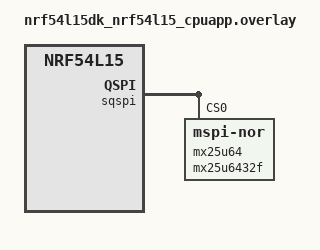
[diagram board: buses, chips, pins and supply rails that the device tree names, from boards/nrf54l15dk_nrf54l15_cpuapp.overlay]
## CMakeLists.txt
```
# SPDX-License-Identifier: Apache-2.0

cmake_minimum_required(VERSION 3.20.0)
find_package(Zephyr REQUIRED HINTS $ENV{ZEPHYR_BASE})
project(spi_flash_1)

FILE(GLOB app_sources src/*.c)
target_sources(app PRIVATE ${app_sources})
```

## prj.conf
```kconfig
# CONFIG_STDOUT_CONSOLE=y
# CONFIG_FLASH=y

# Enable debug logging
CONFIG_LOG=y
CONFIG_FLASH_LOG_LEVEL_DBG=y
CONFIG_MSPI_LOG_LEVEL_DBG=y

# Enable Logging system
CONFIG_LOG=y
CONFIG_UART_CONSOLE=y
CONFIG_USE_SEGGER_RTT=y
CONFIG_RTT_CONSOLE=y

# Core logging #pj_change pj_change
CONFIG_LOG_PRINTK=y
CONFIG_LOG_BACKEND_RTT=y


# to use internal 32 kHz crystal
CONFIG_CLOCK_CONTROL_NRF_K32SRC_RC=y
CONFIG_CLOCK_CONTROL_NRF_K32SRC_500PPM=y
CONFIG_CLOCK_CONTROL_NRF_K32SRC_RC_CALIBRATION=y
CONFIG_CLOCK_CONTROL_NRF_CALIBRATION_LF_ALWAYS_ON=y


CONFIG_STDOUT_CONSOLE=y
CONFIG_FLASH=y
CONFIG_FLASH=y
CONFIG_FLASH_MAP=y
CONFIG_FLASH_PAGE_LAYOUT=y

CONFIG_SPI=y
CONFIG_NORDIC_QSPI_NOR=y


# # Bluetooth core

# CONFIG_BT=y
# CONFIG_BT_PERIPHERAL=y
# CONFIG_BT_MAX_CONN=1
# CONFIG_BT_DEVICE_NAME="FlashSync"

# CONFIG_BT_L2CAP_TX_MTU=247
# CONFIG_BT_BUF_ACL_TX_SIZE=251
# CONFIG_BT_BUF_ACL_TX_COUNT=20
# CONFIG_BT_L2CAP_TX_BUF_COUNT=20

# CONFIG_HEAP_MEM_POOL_SIZE=16384

# # CRC (for crc32_ieee*)
# CONFIG_CRC=y

# # OPTIONAL persistence:
# CONFIG_NVS=y
# CONFIG_FLASH_PAGE_LAYOUT=y
```

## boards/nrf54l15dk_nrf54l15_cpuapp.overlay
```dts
//changing uart port to uart0 //pj_change
// / {
//     chosen {
//         zephyr,console = &uart30;
//         zephyr,shell-uart = &uart30;
//         zephyr,uart-mcumgr = &uart30;
//     };
// };
// /* UART30 configuration */
// &uart30 {
//     status = "okay";
//     current-speed = <115200>;
//     pinctrl-names = "default", "sleep";
//     pinctrl-0 = <&uart30_alt_pins>;
//     pinctrl-1 = <&uart30_sleep_pins>;
// };
// /* UART30 pin mapping */
// &pinctrl {
//     uart30_alt_pins: uart30_alt_pins {
//         group1 {
//             psels = <
//                 NRF_PSEL(UART_TX, 0, 2)
//                 NRF_PSEL(UART_RX, 0, 3)
//                 NRF_PSEL(UART_RTS, 0, 0)
//                 NRF_PSEL(UART_CTS, 0, 1)
//             >;
//         };
//     };
//     uart30_sleep_pins: uart30_sleep_pins {
//         group1 {
//             /* All pins disabled in sleep state */
//             psels = <
//                 NRF_PSEL(UART_TX, 0, 2)
//                 NRF_PSEL(UART_RX, 0, 3)
//                 NRF_PSEL(UART_RTS, 0, 0)
//                 NRF_PSEL(UART_CTS, 0, 1)
//             >;
//             low-power-enable;
//         };
//     };
// };
// &uart20 {
//     status = "disabled";
// };

/*SPI pin configuration */
&pinctrl {
	sqspi_default: sqspi_default {
		group1 {
			psels = <NRF_PSEL(SDP_MSPI_SCK, 2, 1)>,
				<NRF_PSEL(SDP_MSPI_CS0, 2, 5)>,
				<NRF_PSEL(SDP_MSPI_DQ0, 2, 2)>;
			nordic,drive-mode = <NRF_DRIVE_E0E1>;
		};
		group2 {
			psels = <NRF_PSEL(SDP_MSPI_DQ1, 2, 4)>,
				<NRF_PSEL(SDP_MSPI_DQ2, 2, 3)>,
				<NRF_PSEL(SDP_MSPI_DQ3, 2, 0)>;
			nordic,drive-mode = <NRF_DRIVE_E0E1>;
			bias-pull-up;
		};
	};

	sqspi_sleep: sqspi_sleep {
		group1 {
			low-power-enable;
			psels = <NRF_PSEL(SDP_MSPI_SCK, 2, 1)>,
				<NRF_PSEL(SDP_MSPI_CS0, 2, 5)>,
				<NRF_PSEL(SDP_MSPI_DQ0, 2, 2)>,
				<NRF_PSEL(SDP_MSPI_DQ1, 2, 4)>,
				<NRF_PSEL(SDP_MSPI_DQ2, 2, 3)>,
				<NRF_PSEL(SDP_MSPI_DQ3, 2, 0)>;
		};
	};
};

&cpuflpr_vpr {
	pinctrl-0 = <&sqspi_default>;
	pinctrl-1 = <&sqspi_sleep>;
	pinctrl-names = "default", "sleep";
	interrupts = <76 NRF_DEFAULT_IRQ_PRIORITY>;
	status = "okay";
};

/ {
	reserved-memory {
		#address-cells = <1>;
		#size-cells = <1>;
		ranges;

		softperipheral_ram: memory@2003c000 {
			reg = <0x2003c000 0x4000>;
			ranges = <0 0x2003c000 0x4000>;
			#address-cells = <1>;
			#size-cells = <1>;

			sqspi: sqspi@3c00 {
				compatible = "nordic,nrf-sqspi";
				#address-cells = <1>;
				#size-cells = <0>;
				reg = <0x3c00 0x200>;
				status = "okay";
				zephyr,pm-device-runtime-auto;
			};
		};
	};
};

/delete-node/ &mx25r64;

&sqspi {
	mx25u64: mx25u6432f@0 {
		compatible = "jedec,mspi-nor";
		status = "okay";
		reg = <0>;
		jedec-id = [c2 25 37];
		quad-enable-requirements = "S1B6";
		sfdp-bfp = [
			e5 20 f1 ff  ff ff ff 03  44 eb 08 6b  08 3b 04 bb
			ee ff ff ff  ff ff 00 ff  ff ff 00 ff  0c 20 0f 52
			10 d8 00 ff  23 72 f5 00  82 ed 04 cc  44 83 68 44
			30 b0 30 b0  f7 c4 d5 5c  00 be 29 ff  f0 d0 ff ff
		];
		size = <67108864>;
		has-dpd;
		t-enter-dpd = <10000>;
		t-exit-dpd = <35000>;
		t-reset-pulse = <10000>;
		t-reset-recovery = <35000>;

		mspi-max-frequency = <DT_FREQ_M(8)>;
		mspi-io-mode = "MSPI_IO_MODE_QUAD_1_4_4";
		mspi-data-rate = "MSPI_DATA_RATE_SINGLE";
		mspi-hardware-ce-num = <1>;
		mspi-cpp-mode = "MSPI_CPP_MODE_0";
		mspi-endian = "MSPI_BIG_ENDIAN";
		mspi-ce-polarity = "MSPI_CE_ACTIVE_LOW";
	};
};
```

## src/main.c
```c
#include <zephyr/kernel.h>
#include <zephyr/device.h>
#include <zephyr/drivers/flash.h>
#include <zephyr/sys/printk.h>
#include <zephyr/sys/util.h>
#include <zephyr/sys/byteorder.h>
#include <zephyr/devicetree.h>

#include <string.h>

#include <zephyr/drivers/gpio.h> //pj_change
static const struct device *gpio1_dev = DEVICE_DT_GET(DT_NODELABEL(gpio1));
static const struct device *gpio2_dev = DEVICE_DT_GET(DT_NODELABEL(gpio2)); //pj_change
/* GPIO pins (as provided earlier) */ //pj_change
#define GPIO_PIN_8   8   /* optional power or control pin - kept for parity */
#define GPIO_PIN_15  15
#define GPIO_PIN_10 10


/* ===================== Flash Configuration ===================== */
#define FLASH_START_ADDR     0x000000u
#define TOTAL_SIZE_BYTES     (500u * 1024u)
#define SECTOR_SIZE          4096u
#define PAGE_SIZE            256u
#define WORD_SIZE            4u
#define TOTAL_WORDS          (TOTAL_SIZE_BYTES / WORD_SIZE)

/* ===================== Globals ===================== */
static const struct device *flash_dev;
static uint8_t sector_buf[SECTOR_SIZE];
static uint8_t page_buf[PAGE_SIZE];

/* ===================== Write 500KB pattern ===================== */
static int write_pattern(void)
{
    printk("=== WRITE PHASE ===\n");
    printk("Erasing %u bytes...\n", (unsigned)TOTAL_SIZE_BYTES);

    /* Erase all flash */
    for (uint32_t off = 0; off < TOTAL_SIZE_BYTES; off += SECTOR_SIZE) {
        if (flash_erase(flash_dev, FLASH_START_ADDR + off, SECTOR_SIZE) != 0) {
            printk("Erase failed at 0x%08X\n", (unsigned)off);
            return -1;
        }
        if ((off % (64u * 1024u)) == 0 && off > 0) {
            printk("  Erased: %u / %u bytes\n", (unsigned)off, (unsigned)TOTAL_SIZE_BYTES);
        }
    }
    printk("Erase complete\n");

    printk("Writing %u word pattern...\n", (unsigned)TOTAL_WORDS);

    /* Write consecutive uint32 pattern */
    for (uint32_t off = 0; off < TOTAL_SIZE_BYTES; off += PAGE_SIZE) {
        uint32_t first_word = off / WORD_SIZE;
        for (uint32_t i = 0; i < PAGE_SIZE; i += 4) {
            uint32_t val = first_word + (i / 4);
            sys_put_le32(val, &page_buf[i]);
        }
        if (flash_write(flash_dev, FLASH_START_ADDR + off, page_buf, PAGE_SIZE) != 0) {
            printk("Write failed at 0x%08X\n", (unsigned)off);
            return -1;
        }
        if ((off % (64u * 1024u)) == 0 && off > 0) {
            printk("  Written: %u / %u bytes\n", (unsigned)off, (unsigned)TOTAL_SIZE_BYTES);
        }
    }
    printk("Write complete\n\n");
    return 0;
}

/* ===================== Quick verify (sample check only) ===================== */
static int verify_pattern(void)
{
    printk("=== VERIFY PHASE ===\n");
    
    /* Check first sector */
    printk("Checking first sector...\n");
    if (flash_read(flash_dev, FLASH_START_ADDR, sector_buf, SECTOR_SIZE) != 0) {
        printk("First sector read failed\n");
        return -1;
    }
    for (uint32_t i = 0; i < 16; i += 4) {
        uint32_t val = sys_le32_to_cpu(*(uint32_t*)&sector_buf[i]);
        uint32_t expected = i / 4;
        if (val != expected) {
            printk("First sector mismatch at word %u: got 0x%08X, expected 0x%08X\n", 
                   (unsigned)(i/4), (unsigned)val, (unsigned)expected);
            return -1;
        }
    }
    printk("First sector OK\n");

    /* Check middle sector */
    printk("Checking middle sector...\n");
    uint32_t mid_off = TOTAL_SIZE_BYTES / 2;
    if (flash_read(flash_dev, FLASH_START_ADDR + mid_off, sector_buf, SECTOR_SIZE) != 0) {
        printk("Middle sector read failed\n");
        return -1;
    }
    uint32_t expected_first = (mid_off / WORD_SIZE);
    uint32_t val = sys_le32_to_cpu(*(uint32_t*)&sector_buf[0]);
    if (val != expected_first) {
        printk("Middle sector mismatch: got 0x%08X, expected 0x%08X\n", 
               (unsigned)val, (unsigned)expected_first);
        return -1;
    }
    printk("Middle sector OK\n");

    /* Check last sector */
    printk("Checking last sector...\n");
    uint32_t last_off = TOTAL_SIZE_BYTES - SECTOR_SIZE;
    if (flash_read(flash_dev, FLASH_START_ADDR + last_off, sector_buf, SECTOR_SIZE) != 0) {
        printk("Last sector read failed\n");
        return -1;
    }
    expected_first = (last_off / WORD_SIZE);
    val = sys_le32_to_cpu(*(uint32_t*)&sector_buf[0]);
    if (val != expected_first) {
        printk("Last sector mismatch: got 0x%08X, expected 0x%08X\n", 
               (unsigned)val, (unsigned)expected_first);
        return -1;
    }
    printk("Last sector OK\n");
    printk("All checks passed\n\n");

    return 0;
}

/* ===================== Erase flash ===================== */
static int erase_flash(void)
{
    printk("=== ERASE PHASE ===\n");
    printk("Erasing %u bytes...\n", (unsigned)TOTAL_SIZE_BYTES);

    for (uint32_t off = 0; off < TOTAL_SIZE_BYTES; off += SECTOR_SIZE) {
        if (flash_erase(flash_dev, FLASH_START_ADDR + off, SECTOR_SIZE) != 0) {
            printk("Erase failed at 0x%08X\n", (unsigned)off);
            return -1;
        }
        if ((off % (64u * 1024u)) == 0 && off > 0) {
            printk("  Erased: %u / %u bytes\n", (unsigned)off, (unsigned)TOTAL_SIZE_BYTES);
        }
    }
    printk("Erase complete\n\n");
    return 0;
}

/* ===================== Main ===================== */
int main(void)
{
    printk("\n========================================\n");
    printk("Flash Power Test - 500KB Write/Read/Erase\n");
    printk("========================================\n\n");

    if (device_is_ready(gpio1_dev) && device_is_ready(gpio2_dev)) { //pj_change
        int rc;
        rc = gpio_pin_configure(gpio1_dev, GPIO_PIN_15, GPIO_OUTPUT_ACTIVE);
        if (rc == 0) { gpio_pin_set(gpio1_dev, GPIO_PIN_15, 1); printk("GPIO 1.15 HIGH AVDD\n"); }
        rc = gpio_pin_configure(gpio1_dev, GPIO_PIN_8, GPIO_OUTPUT_INACTIVE);
        if (rc == 0) { gpio_pin_set(gpio1_dev, GPIO_PIN_8, 0); printk("GPIO 1.08 LOW EN_ACCEL\n"); }
        rc = gpio_pin_configure(gpio2_dev, GPIO_PIN_10, GPIO_OUTPUT_INACTIVE);
        if (rc == 0) { gpio_pin_set(gpio2_dev, GPIO_PIN_10, 0); printk("GPIO 2.10 LOW EN_ASVDD\n"); }
    } else {
        printk("GPIO device not ready (optional).");
    }


    flash_dev = DEVICE_DT_GET(DT_NODELABEL(mx25u64));
    if (!device_is_ready(flash_dev)) {
        printk("ERROR: Flash device not ready\n");
        return -1;
    }
    printk("Flash device ready: %s\n\n", flash_dev->name);

    /* Initial idle period for baseline measurement */
    printk("Waiting 2 seconds (baseline measurement)...\n");
    k_msleep(2000);
    printk("Starting operations\n\n");

    /* Write test */
    if (write_pattern() != 0) {
        printk("ERROR: Write operation failed\n");
        return -1;
    }

    /* Verify test */
    if (verify_pattern() != 0) {
        printk("ERROR: Verification failed\n");
        return -1;
    }

    /* Erase test */
    if (erase_flash() != 0) {
        printk("ERROR: Erase operation failed\n");
        return -1;
    }

    /* Sleep */
    printk("========================================\n");
    printk("All tests completed successfully\n");
    printk("Entering sleep mode (measurement window)\n");
    printk("========================================\n");
    k_sleep(K_FOREVER);

    return 0;
}
```
